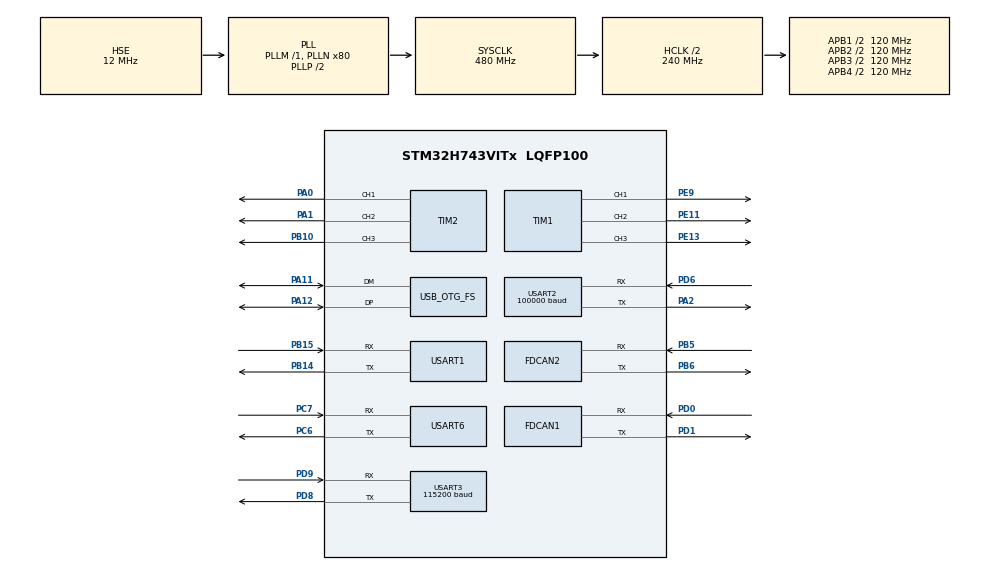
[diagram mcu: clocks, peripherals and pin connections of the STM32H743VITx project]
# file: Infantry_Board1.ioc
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CORTEX_M7.CPU_DCache=Disabled
CORTEX_M7.CPU_ICache=Disabled
CORTEX_M7.default_mode_Activation=0
Dma.Request0=USART3_RX
Dma.Request1=USART1_RX
Dma.Request2=USART1_TX
Dma.Request3=USART6_RX
Dma.Request4=USART6_TX
Dma.Request5=USART2_RX
Dma.USART1_RX.1.Direction=DMA_PERIPH_TO_MEMORY
Dma.USART1_RX.1.EventEnable=DISABLE
Dma.USART1_RX.1.FIFOMode=DMA_FIFOMODE_DISABLE
Dma.USART1_RX.1.Instance=DMA2_Stream5
Dma.USART1_RX.1.MemDataAlignment=DMA_MDATAALIGN_BYTE
Dma.USART1_RX.1.MemInc=DMA_MINC_ENABLE
Dma.USART1_RX.1.Mode=DMA_NORMAL
Dma.USART1_RX.1.PeriphDataAlignment=DMA_PDATAALIGN_BYTE
Dma.USART1_RX.1.PeriphInc=DMA_PINC_DISABLE
Dma.USART1_RX.1.Polarity=HAL_DMAMUX_REQ_GEN_RISING
Dma.USART1_RX.1.Priority=DMA_PRIORITY_HIGH
Dma.USART1_RX.1.RequestNumber=1
Dma.USART1_RX.1.SignalID=NONE
Dma.USART1_RX.1.SyncEnable=DISABLE
Dma.USART1_RX.1.SyncPolarity=HAL_DMAMUX_SYNC_NO_EVENT
Dma.USART1_RX.1.SyncRequestNumber=1
Dma.USART1_RX.1.SyncSignalID=NONE
Dma.USART1_TX.2.Direction=DMA_MEMORY_TO_PERIPH
Dma.USART1_TX.2.EventEnable=DISABLE
Dma.USART1_TX.2.FIFOMode=DMA_FIFOMODE_DISABLE
Dma.USART1_TX.2.Instance=DMA2_Stream7
Dma.USART1_TX.2.MemDataAlignment=DMA_MDATAALIGN_BYTE
Dma.USART1_TX.2.MemInc=DMA_MINC_ENABLE
Dma.USART1_TX.2.Mode=DMA_NORMAL
Dma.USART1_TX.2.PeriphDataAlignment=DMA_PDATAALIGN_BYTE
Dma.USART1_TX.2.PeriphInc=DMA_PINC_DISABLE
Dma.USART1_TX.2.Polarity=HAL_DMAMUX_REQ_GEN_RISING
Dma.USART1_TX.2.Priority=DMA_PRIORITY_HIGH
Dma.USART1_TX.2.RequestNumber=1
Dma.USART1_TX.2.SignalID=NONE
Dma.USART1_TX.2.SyncEnable=DISABLE
Dma.USART1_TX.2.SyncPolarity=HAL_DMAMUX_SYNC_NO_EVENT
Dma.USART1_TX.2.SyncRequestNumber=1
Dma.USART1_TX.2.SyncSignalID=NONE
Dma.USART2_RX.5.Direction=DMA_PERIPH_TO_MEMORY
Dma.USART2_RX.5.EventEnable=DISABLE
Dma.USART2_RX.5.FIFOMode=DMA_FIFOMODE_DISABLE
Dma.USART2_RX.5.Instance=DMA1_Stream1
Dma.USART2_RX.5.MemDataAlignment=DMA_MDATAALIGN_BYTE
Dma.USART2_RX.5.MemInc=DMA_MINC_ENABLE
Dma.USART2_RX.5.Mode=DMA_NORMAL
Dma.USART2_RX.5.PeriphDataAlignment=DMA_PDATAALIGN_BYTE
Dma.USART2_RX.5.PeriphInc=DMA_PINC_DISABLE
Dma.USART2_RX.5.Polarity=HAL_DMAMUX_REQ_GEN_RISING
Dma.USART2_RX.5.Priority=DMA_PRIORITY_VERY_HIGH
Dma.USART2_RX.5.RequestNumber=1
Dma.USART2_RX.5.SignalID=NONE
Dma.USART2_RX.5.SyncEnable=DISABLE
Dma.USART2_RX.5.SyncPolarity=HAL_DMAMUX_SYNC_NO_EVENT
Dma.USART2_RX.5.SyncRequestNumber=1
Dma.USART2_RX.5.SyncSignalID=NONE
Dma.USART3_RX.0.Direction=DMA_PERIPH_TO_MEMORY
Dma.USART3_RX.0.EventEnable=DISABLE
Dma.USART3_RX.0.FIFOMode=DMA_FIFOMODE_DISABLE
Dma.USART3_RX.0.Instance=DMA1_Stream0
Dma.USART3_RX.0.MemDataAlignment=DMA_MDATAALIGN_BYTE
Dma.USART3_RX.0.MemInc=DMA_MINC_ENABLE
Dma.USART3_RX.0.Mode=DMA_NORMAL
Dma.USART3_RX.0.PeriphDataAlignment=DMA_PDATAALIGN_BYTE
Dma.USART3_RX.0.PeriphInc=DMA_PINC_DISABLE
Dma.USART3_RX.0.Polarity=HAL_DMAMUX_REQ_GEN_RISING
Dma.USART3_RX.0.Priority=DMA_PRIORITY_VERY_HIGH
Dma.USART3_RX.0.RequestNumber=1
Dma.USART3_RX.0.SignalID=NONE
Dma.USART3_RX.0.SyncEnable=DISABLE
Dma.USART3_RX.0.SyncPolarity=HAL_DMAMUX_SYNC_NO_EVENT
Dma.USART3_RX.0.SyncRequestNumber=1
Dma.USART3_RX.0.SyncSignalID=NONE
Dma.USART6_RX.3.Direction=DMA_PERIPH_TO_MEMORY
Dma.USART6_RX.3.EventEnable=DISABLE
Dma.USART6_RX.3.FIFOMode=DMA_FIFOMODE_DISABLE
Dma.USART6_RX.3.Instance=DMA2_Stream1
Dma.USART6_RX.3.MemDataAlignment=DMA_MDATAALIGN_BYTE
Dma.USART6_RX.3.MemInc=DMA_MINC_ENABLE
Dma.USART6_RX.3.Mode=DMA_NORMAL
Dma.USART6_RX.3.PeriphDataAlignment=DMA_PDATAALIGN_BYTE
Dma.USART6_RX.3.PeriphInc=DMA_PINC_DISABLE
Dma.USART6_RX.3.Polarity=HAL_DMAMUX_REQ_GEN_RISING
Dma.USART6_RX.3.Priority=DMA_PRIORITY_HIGH
Dma.USART6_RX.3.RequestNumber=1
Dma.USART6_RX.3.SignalID=NONE
Dma.USART6_RX.3.SyncEnable=DISABLE
Dma.USART6_RX.3.SyncPolarity=HAL_DMAMUX_SYNC_NO_EVENT
Dma.USART6_RX.3.SyncRequestNumber=1
Dma.USART6_RX.3.SyncSignalID=NONE
Dma.USART6_TX.4.Direction=DMA_MEMORY_TO_PERIPH
Dma.USART6_TX.4.EventEnable=DISABLE
Dma.USART6_TX.4.FIFOMode=DMA_FIFOMODE_DISABLE
Dma.USART6_TX.4.Instance=DMA2_Stream6
Dma.USART6_TX.4.MemDataAlignment=DMA_MDATAALIGN_BYTE
Dma.USART6_TX.4.MemInc=DMA_MINC_ENABLE
Dma.USART6_TX.4.Mode=DMA_NORMAL
Dma.USART6_TX.4.PeriphDataAlignment=DMA_PDATAALIGN_BYTE
Dma.USART6_TX.4.PeriphInc=DMA_PINC_DISABLE
Dma.USART6_TX.4.Polarity=HAL_DMAMUX_REQ_GEN_RISING
Dma.USART6_TX.4.Priority=DMA_PRIORITY_HIGH
Dma.USART6_TX.4.RequestNumber=1
Dma.USART6_TX.4.SignalID=NONE
Dma.USART6_TX.4.SyncEnable=DISABLE
Dma.USART6_TX.4.SyncPolarity=HAL_DMAMUX_SYNC_NO_EVENT
Dma.USART6_TX.4.SyncRequestNumber=1
Dma.USART6_TX.4.SyncSignalID=NONE
FDCAN1.AutoRetransmission=ENABLE
FDCAN1.CalculateBaudRateNominal=1000000
FDCAN1.CalculateTimeBitNominal=1000
FDCAN1.CalculateTimeQuantumNominal=25.0
FDCAN1.DataPrescaler=3
FDCAN1.DataSyncJumpWidth=10
FDCAN1.DataTimeSeg1=29
FDCAN1.DataTimeSeg2=10
FDCAN1.NominalPrescaler=3
FDCAN1.NominalSyncJumpWidth=10
FDCAN1.NominalTimeSeg1=29
FDCAN1.NominalTimeSeg2=10
FDCAN1.ProtocolException=ENABLE
FDCAN1.RxFifo0ElmtsNbr=64
FDCAN1.StdFiltersNbr=1
FDCAN1.TxFifoQueueElmtsNbr=32
FDCAN2.AutoRetransmission=ENABLE
FDCAN2.CalculateBaudRateNominal=1000000
FDCAN2.CalculateTimeBitNominal=1000
FDCAN2.CalculateTimeQuantumNominal=25.0
FDCAN2.DataPrescaler=3
FDCAN2.DataSyncJumpWidth=10
FDCAN2.DataTimeSeg1=29
FDCAN2.DataTimeSeg2=10
FDCAN2.NominalPrescaler=3
FDCAN2.NominalSyncJumpWidth=10
FDCAN2.NominalTimeSeg1=29
FDCAN2.NominalTimeSeg2=10
FDCAN2.ProtocolException=ENABLE
FDCAN2.RxFifo0ElmtsNbr=64
FDCAN2.StdFiltersNbr=1
FDCAN2.TxFifoQueueElmtsNbr=32
FREERTOS.INCLUDE_vTaskDelayUntil=1
FREERTOS.INCLUDE_xTaskGetHandle=1
FREERTOS.Tasks01=defaultTask,0,128,StartDefaultTask,Default,NULL,Dynamic,NULL,NULL;StartTask,3,128,ALL_Init,Default,NULL,Dynamic,NULL,NULL
Mcu.Family=STM32H7
Mcu.Name=STM32H743VITx
Mcu.Package=LQFP100
NVIC.DMA1_Stream0_IRQn=true\:5\:0\:false\:false\:true\:true\:false\:true\:true
NVIC.DMA1_Stream1_IRQn=true\:5\:0\:false\:false\:true\:true\:false\:true\:true
NVIC.DMA2_Stream1_IRQn=true\:5\:0\:false\:false\:true\:false\:false\:true\:true
NVIC.DMA2_Stream5_IRQn=true\:5\:0\:false\:false\:true\:false\:false\:true\:true
NVIC.DMA2_Stream6_IRQn=true\:5\:0\:false\:false\:true\:false\:false\:true\:true
NVIC.DMA2_Stream7_IRQn=true\:5\:0\:false\:false\:true\:false\:false\:true\:true
NVIC.FDCAN1_IT0_IRQn=true\:5\:0\:false\:false\:true\:true\:true\:true\:true
NVIC.FDCAN1_IT1_IRQn=true\:5\:0\:false\:false\:true\:true\:true\:true\:true
NVIC.FDCAN2_IT0_IRQn=true\:5\:0\:false\:false\:true\:true\:true\:true\:true
NVIC.FDCAN2_IT1_IRQn=true\:5\:0\:false\:false\:true\:true\:true\:true\:true
NVIC.OTG_FS_IRQn=true\:5\:0\:false\:false\:true\:true\:false\:true\:true
NVIC.PriorityGroup=NVIC_PRIORITYGROUP_4
NVIC.TIM3_IRQn=true\:15\:0\:false\:false\:true\:false\:false\:true\:true
NVIC.TimeBase=TIM3_IRQn
NVIC.TimeBaseIP=TIM3
NVIC.USART1_IRQn=true\:5\:0\:false\:false\:true\:true\:false\:true\:true
NVIC.USART2_IRQn=true\:5\:0\:true\:false\:true\:true\:true\:true\:true
NVIC.USART3_IRQn=true\:5\:0\:false\:false\:true\:true\:true\:true\:true
NVIC.USART6_IRQn=true\:5\:0\:false\:false\:true\:true\:false\:true\:true
PA0.Signal=S_TIM2_CH1_ETR
PA1.Signal=S_TIM2_CH2
PA11.Mode=Device_Only
PA11.Signal=USB_OTG_FS_DM
PA12.Mode=Device_Only
PA12.Signal=USB_OTG_FS_DP
PA2.Mode=Asynchronous
PA2.Signal=USART2_TX
PB10.Signal=S_TIM2_CH3
PB14.Mode=Asynchronous
PB14.Signal=USART1_TX
PB15.Mode=Asynchronous
PB15.Signal=USART1_RX
PB5.Mode=FDCAN_Activate
PB5.Signal=FDCAN2_RX
PB6.Mode=FDCAN_Activate
PB6.Signal=FDCAN2_TX
PC6.Mode=Asynchronous
PC6.Signal=USART6_TX
PC7.Mode=Asynchronous
PC7.Signal=USART6_RX
PD0.Mode=FDCAN_Activate
PD0.Signal=FDCAN1_RX
PD1.Mode=FDCAN_Activate
PD1.Signal=FDCAN1_TX
PD6.Mode=Asynchronous
PD6.Signal=USART2_RX
PD8.Mode=Asynchronous
PD8.Signal=USART3_TX
PD9.Mode=Asynchronous
PD9.Signal=USART3_RX
PE11.Signal=S_TIM1_CH2
PE13.Signal=S_TIM1_CH3
PE9.Signal=S_TIM1_CH1
PH0-OSC_IN\ (PH0).Mode=HSE-External-Oscillator
PH0-OSC_IN\ (PH0).Signal=RCC_OSC_IN
PH1-OSC_OUT\ (PH1).Mode=HSE-External-Oscillator
PH1-OSC_OUT\ (PH1).Signal=RCC_OSC_OUT
ProjectManager.HeapSize=0x2000
ProjectManager.StackSize=0x400
ProjectManager.TargetToolchain=MDK-ARM V5.32
RCC.ADCFreq_Value=120000000
RCC.APB1Freq_Value=120000000
RCC.APB2Freq_Value=120000000
RCC.APB3Freq_Value=120000000
RCC.APB4Freq_Value=120000000
RCC.CortexFreq_Value=480000000
RCC.D1PPRE=RCC_APB3_DIV2
RCC.D2PPRE1=RCC_APB1_DIV2
RCC.D2PPRE2=RCC_APB2_DIV2
RCC.D3PPRE=RCC_APB4_DIV2
RCC.DIVM1=1
RCC.DIVM2=1
RCC.DIVM3=1
RCC.DIVN1=80
RCC.DIVN2=20
RCC.DIVN3=20
RCC.DIVQ1=8
RCC.HCLKFreq_Value=240000000
RCC.HPRE=RCC_HCLK_DIV2
RCC.HSE_VALUE=12000000
RCC.PLLSourceVirtual=RCC_PLLSOURCE_HSE
RCC.SYSCLKFreq_VALUE=480000000
RCC.SYSCLKSource=RCC_SYSCLKSOURCE_PLLCLK
RCC.USBCLockSelection=RCC_USBCLKSOURCE_HSI48
RCC.USBFreq_Value=48000000
SH.S_TIM1_CH1.0=TIM1_CH1,PWM Generation1 CH1
SH.S_TIM1_CH2.0=TIM1_CH2,PWM Generation2 CH2
SH.S_TIM1_CH3.0=TIM1_CH3,PWM Generation3 CH3
SH.S_TIM2_CH1_ETR.0=TIM2_CH1,Output Compare1 CH1
SH.S_TIM2_CH2.0=TIM2_CH2,Output Compare2 CH2
SH.S_TIM2_CH3.0=TIM2_CH3,Output Compare3 CH3
STMicroelectronics.X-CUBE-ALGOBUILD.1.4.0.LibraryCcDSPOoLibraryJjDSPOoLibrary=true
TIM1.Channel-PWM\ Generation1\ CH1=TIM_CHANNEL_1
TIM1.Channel-PWM\ Generation2\ CH2=TIM_CHANNEL_2
TIM1.Channel-PWM\ Generation3\ CH3=TIM_CHANNEL_3
TIM2.Channel-Output\ Compare1\ CH1=TIM_CHANNEL_1
TIM2.Channel-Output\ Compare2\ CH2=TIM_CHANNEL_2
TIM2.Channel-Output\ Compare3\ CH3=TIM_CHANNEL_3
USART1.VirtualMode-Asynchronous=VM_ASYNC
USART2.BaudRate=100000
USART2.Parity=PARITY_EVEN
USART2.StopBits=STOPBITS_1
USART2.VirtualMode-Asynchronous=VM_ASYNC
USART2.WordLength=WORDLENGTH_9B
USART3.BaudRate=115200
USART3.StopBits=STOPBITS_2
USART3.VirtualMode-Asynchronous=VM_ASYNC
USART6.VirtualMode=VM_ASYNC
USB_DEVICE.CLASS_NAME_FS=CDC
USB_DEVICE.VirtualMode-CDC_FS=Cdc
USB_DEVICE.VirtualModeFS=Cdc_FS
USB_OTG_FS.VirtualMode=Device_Only
VP_FREERTOS_VS_CMSIS_V1.Mode=CMSIS_V1
VP_MEMORYMAP_VS_MEMORYMAP.Mode=CurAppReg
VP_RTC_VS_RTC_Activate.Mode=RTC_Enabled
VP_RTC_VS_RTC_Calendar.Mode=RTC_Calendar
VP_STMicroelectronics.X-CUBE-ALGOBUILD_VS_DSPOoLibraryJjLibrary_1.4.0_1.4.0.Mode=DSPOoLibraryJjLibrary
VP_SYS_VS_tim3.Mode=TIM3
VP_TIM1_VS_ClockSourceINT.Mode=Internal
VP_TIM2_VS_ClockSourceINT.Mode=Internal
VP_USB_DEVICE_VS_USB_DEVICE_CDC_FS.Mode=CDC_FS
board=custom

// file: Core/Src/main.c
/* USER CODE BEGIN Header */
/**
  ******************************************************************************
  * @file           : main.c
  * @brief          : Main program body
  ******************************************************************************
  * @attention
  *
  * Copyright (c) 2024 STMicroelectronics.
  * All rights reserved.
  *
  * This software is licensed under terms that can be found in the LICENSE file
  * in the root directory of this software component.
  * If no LICENSE file comes with this software, it is provided AS-IS.
  *
  ******************************************************************************
  */
/* USER CODE END Header */
#include "main.h"
#include "cmsis_os.h"
#include "dma.h"
#include "fdcan.h"
#include "memorymap.h"
#include "rtc.h"
#include "tim.h"
#include "usart.h"
#include "usb_device.h"
#include "gpio.h"

void SystemClock_Config(void);
void MX_FREERTOS_Init(void);

int main(void)
{

  /* MCU Configuration--------------------------------------------------------*/

  /* Reset of all peripherals, Initializes the Flash interface and the Systick. */
  HAL_Init();

  /* Configure the system clock */
  SystemClock_Config();

  /* Initialize all configured peripherals */
  MX_GPIO_Init();
  MX_DMA_Init();
  MX_FDCAN1_Init();
  MX_FDCAN2_Init();
  MX_USART1_UART_Init();
  MX_USART3_UART_Init();
  MX_USART6_UART_Init();
  MX_RTC_Init();
  MX_TIM1_Init();
  MX_TIM2_Init();
  MX_USART2_UART_Init();

  /* Call init function for freertos objects (in cmsis_os2.c) */
  MX_FREERTOS_Init();

  /* Start scheduler */
  osKernelStart();

  /* We should never get here as control is now taken by the scheduler */

  /* Infinite loop */
  while (1)
  {

  }
}

void SystemClock_Config(void)
{
  RCC_OscInitTypeDef RCC_OscInitStruct = {0};
  RCC_ClkInitTypeDef RCC_ClkInitStruct = {0};

  /** Supply configuration update enable
  */
  HAL_PWREx_ConfigSupply(PWR_LDO_SUPPLY);

  /** Configure the main internal regulator output voltage
  */
  __HAL_PWR_VOLTAGESCALING_CONFIG(PWR_REGULATOR_VOLTAGE_SCALE1);

  while(!__HAL_PWR_GET_FLAG(PWR_FLAG_VOSRDY)) {}

  __HAL_RCC_SYSCFG_CLK_ENABLE();
  __HAL_PWR_VOLTAGESCALING_CONFIG(PWR_REGULATOR_VOLTAGE_SCALE0);

  while(!__HAL_PWR_GET_FLAG(PWR_FLAG_VOSRDY)) {}

  /** Initializes the RCC Oscillators according to the specified parameters
  * in the RCC_OscInitTypeDef structure.
  */
  RCC_OscInitStruct.OscillatorType = RCC_OSCILLATORTYPE_HSI48|RCC_OSCILLATORTYPE_LSI
                              |RCC_OSCILLATORTYPE_HSE;
  RCC_OscInitStruct.HSEState = RCC_HSE_ON;
  RCC_OscInitStruct.LSIState = RCC_LSI_ON;
  RCC_OscInitStruct.HSI48State = RCC_HSI48_ON;
  RCC_OscInitStruct.PLL.PLLState = RCC_PLL_ON;
  RCC_OscInitStruct.PLL.PLLSource = RCC_PLLSOURCE_HSE;
  RCC_OscInitStruct.PLL.PLLM = 1;
  RCC_OscInitStruct.PLL.PLLN = 80;
  RCC_OscInitStruct.PLL.PLLP = 2;
  RCC_OscInitStruct.PLL.PLLQ = 8;
  RCC_OscInitStruct.PLL.PLLR = 2;
  RCC_OscInitStruct.PLL.PLLRGE = RCC_PLL1VCIRANGE_3;
  RCC_OscInitStruct.PLL.PLLVCOSEL = RCC_PLL1VCOWIDE;
  RCC_OscInitStruct.PLL.PLLFRACN = 0;
  if (HAL_RCC_OscConfig(&RCC_OscInitStruct) != HAL_OK)
  {
    Error_Handler();
  }

  /** Initializes the CPU, AHB and APB buses clocks
  */
  RCC_ClkInitStruct.ClockType = RCC_CLOCKTYPE_HCLK|RCC_CLOCKTYPE_SYSCLK
                              |RCC_CLOCKTYPE_PCLK1|RCC_CLOCKTYPE_PCLK2
                              |RCC_CLOCKTYPE_D3PCLK1|RCC_CLOCKTYPE_D1PCLK1;
  RCC_ClkInitStruct.SYSCLKSource = RCC_SYSCLKSOURCE_PLLCLK;
  RCC_ClkInitStruct.SYSCLKDivider = RCC_SYSCLK_DIV1;
  RCC_ClkInitStruct.AHBCLKDivider = RCC_HCLK_DIV2;
  RCC_ClkInitStruct.APB3CLKDivider = RCC_APB3_DIV2;
  RCC_ClkInitStruct.APB1CLKDivider = RCC_APB1_DIV2;
  RCC_ClkInitStruct.APB2CLKDivider = RCC_APB2_DIV2;
  RCC_ClkInitStruct.APB4CLKDivider = RCC_APB4_DIV2;

  if (HAL_RCC_ClockConfig(&RCC_ClkInitStruct, FLASH_LATENCY_4) != HAL_OK)
  {
    Error_Handler();
  }
}

void HAL_TIM_PeriodElapsedCallback(TIM_HandleTypeDef *htim)
{
  if (htim->Instance == TIM3) {
    HAL_IncTick();
  }
}

void Error_Handler(void)
{
  __disable_irq();
  while (1)
  {
  }
}

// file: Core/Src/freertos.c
/* USER CODE BEGIN Header */
/**
  ******************************************************************************
  * File Name          : freertos.c
  * Description        : Code for freertos applications
  ******************************************************************************
  * @attention
  *
  * Copyright (c) 2024 STMicroelectronics.
  * All rights reserved.
  *
  * This software is licensed under terms that can be found in the LICENSE file
  * in the root directory of this software component.
  * If no LICENSE file comes with this software, it is provided AS-IS.
  *
  ******************************************************************************
  */
/* USER CODE END Header */

#include "FreeRTOS.h"
#include "task.h"
#include "main.h"
#include "cmsis_os.h"

/* USER CODE BEGIN Includes */
#include "pid.h"
#include "BSP_Fdcan.h"
#include "BSP_Usart.h"

#include "Cloud_Control.h"
#include "Shoot.h"

#include "Task_LED.h"
#include "SBUS.h"
#include "DT7.h"
#include "BSP_Test.h"
#include "Saber_C3.h"
#include "Protocol_UpperComputer.h"

/* USER CODE END Includes */

/* USER CODE BEGIN Variables */
/***********Queues************/
QueueHandle_t FDCAN1_ReceiveHandle;
QueueHandle_t FDCAN2_ReceiveHandle;//��ʱ�򿪣���Ȼû��
QueueHandle_t FDCAN_SendHandle;
QueueHandle_t Communicate_ReceivefromPCHandle;
/***********Tasks*************/
osThreadId Task_Fdcan1MsgRecHandle;
osThreadId Task_Fdcan2MsgRecHandle;//��ʱ�򿪣���Ȼû��
osThreadId Task_FdcanSendHandle;
osThreadId Move_DataHandle;
osThreadId led_RGB_flow_handle;
osThreadId Robot_Control_Handle;
osThreadId Task_CommunicateFromPC_Handle;
osThreadId Task_CommunicateToPC_Handle;
osThreadId Task_OffLineCheck_Handle;
osThreadId Task_DT7_Handle;

/* USER CODE END Variables */
osThreadId defaultTaskHandle;
osThreadId StartTaskHandle;

/* USER CODE BEGIN FunctionPrototypes */
extern void Fdcan1Receives(void const *argument);
extern void Fdcan2Receives(void const *argument);
extern void AllFdcanSend(void const *argument);
extern void Robot_Control(void const *argument);
extern void Robot_Control(void const *argument);
extern void USBCommunicateTask_Receive(void const *argument);
extern void USBCommunicateTask_Send(void const *argument);
extern void Off_Line_Check(void const *argument);
extern void DT7_Control(void const *argument);

/* USER CODE END FunctionPrototypes */

void StartDefaultTask(void const * argument);
void ALL_Init(void const * argument);

extern void MX_USB_DEVICE_Init(void);
void MX_FREERTOS_Init(void); /* (MISRA C 2004 rule 8.1) */

/* GetIdleTaskMemory prototype (linked to static allocation support) */
void vApplicationGetIdleTaskMemory( StaticTask_t **ppxIdleTaskTCBBuffer, StackType_t **ppxIdleTaskStackBuffer, uint32_t *pulIdleTaskStackSize );

/* USER CODE BEGIN GET_IDLE_TASK_MEMORY */
static StaticTask_t xIdleTaskTCBBuffer;
static StackType_t xIdleStack[configMINIMAL_STACK_SIZE];

void vApplicationGetIdleTaskMemory( StaticTask_t **ppxIdleTaskTCBBuffer, StackType_t **ppxIdleTaskStackBuffer, uint32_t *pulIdleTaskStackSize )
{
  *ppxIdleTaskTCBBuffer = &xIdleTaskTCBBuffer;
  *ppxIdleTaskStackBuffer = &xIdleStack[0];
  *pulIdleTaskStackSize = configMINIMAL_STACK_SIZE;
  /* place for user code */
}
/* USER CODE END GET_IDLE_TASK_MEMORY */

void MX_FREERTOS_Init(void) {

  /* USER CODE BEGIN RTOS_QUEUES */
  /* add queues, ... */

  /* definition and creation of CAN1_Receive */
  FDCAN1_ReceiveHandle = xQueueCreate(16, sizeof(Fdcan_Export_Data_t));

  /* definition and creation of CAN2_Receive */
  FDCAN2_ReceiveHandle = xQueueCreate(16, sizeof(Fdcan_Export_Data_t));

  /* definition and creation of CAN_Send */
  FDCAN_SendHandle = xQueueCreate(16, sizeof(Fdcan_Send_Data_t));

  /* definition and creation of Communicate_PC */
  Communicate_ReceivefromPCHandle = xQueueCreate(16, UpperCom_MAX_BUF);
  /* USER CODE END RTOS_QUEUES */

  /* Create the thread(s) */
  /* definition and creation of defaultTask */
  osThreadDef(defaultTask, StartDefaultTask, osPriorityNormal, 0, 128);
  defaultTaskHandle = osThreadCreate(osThread(defaultTask), NULL);

  /* definition and creation of StartTask */
  osThreadDef(StartTask, ALL_Init, osPriorityRealtime, 0, 128);
  StartTaskHandle = osThreadCreate(osThread(StartTask), NULL);

  /* USER CODE BEGIN RTOS_THREADS */
  /* add threads, ... */

  /* definition and creation of Can1ReceiveTask */
  osThreadDef(Fdcan1_ReceiveTask, Fdcan1Receives, osPriorityAboveNormal, 0, 128);
  Task_Fdcan1MsgRecHandle = osThreadCreate(osThread(Fdcan1_ReceiveTask), NULL);

  /* definition and creation of Can1ReceiveTask */
  osThreadDef(Fdcan2_ReceiveTask, Fdcan2Receives, osPriorityAboveNormal, 0, 128);
  Task_Fdcan2MsgRecHandle = osThreadCreate(osThread(Fdcan2_ReceiveTask), NULL);

  /* definition and creation of CanSendTask */
  osThreadDef(Fdcan_SendTask, AllFdcanSend, osPriorityHigh, 0, 256);
  Task_FdcanSendHandle = osThreadCreate(osThread(Fdcan_SendTask), NULL);

//  /* definition and creation of LED_RGB_Flow_Task */
//  osThreadDef(led, led_RGB_flow_task, osPriorityNormal, 0, 128);
//  led_RGB_flow_handle = osThreadCreate(osThread(led), NULL);

  /* definition and creation of Robot_Control_Task */
  osThreadDef(Robot_Control_Task, Robot_Control, osPriorityHigh, 0, 256);
  Robot_Control_Handle = osThreadCreate(osThread(Robot_Control_Task), NULL);

  /* definition and creation of Task_CommunicateToPC_Handle */
  osThreadDef(Task_CommunicateToPC_Handle, USBCommunicateTask_Send, osPriorityAboveNormal, 0, 256);
  Task_CommunicateToPC_Handle = osThreadCreate(osThread(Task_CommunicateToPC_Handle), NULL);

  /* definition and creation of Task_OffLineCheck_Handle */
  osThreadDef(Task_OffLineCheck_Handle, Off_Line_Check, osPriorityAboveNormal, 0, 128);
  Task_OffLineCheck_Handle = osThreadCreate(osThread(Task_OffLineCheck_Handle), NULL);

  /* definition and creation of Task_CommunicateFromPC_Handle */
  osThreadDef(Task_CommunicateFromPC_Handle, USBCommunicateTask_Receive, osPriorityAboveNormal, 0, 128);
  Task_CommunicateFromPC_Handle = osThreadCreate(osThread(Task_CommunicateFromPC_Handle), NULL);

  /* definition and creation of Task_DT7_Handle */
  osThreadDef(Task_DT7_Handle, DT7_Control, osPriorityHigh, 0, 256);
  Task_DT7_Handle = osThreadCreate(osThread(Task_DT7_Handle), NULL);

  /* USER CODE END RTOS_THREADS */

}

void StartDefaultTask(void const * argument)
{
  /* init code for USB_DEVICE */
  MX_USB_DEVICE_Init();
  for(;;)
  {
    osDelay(1);
  }
}

void ALL_Init(void const * argument)
{
  /* USER CODE BEGIN ALL_Init */
    /* Infinite loop */
    for (;;)
    {
        taskENTER_CRITICAL();                 //�����ٽ���

        /* FDCAN�жϳ�ʼ�� */
        Fdcan_Fun.FDCAN_IT_Init(&hfdcan1, Fdcan1_Type);
        Fdcan_Fun.FDCAN_IT_Init(&hfdcan2, Fdcan2_Type);
			  /*ģ��PID��ʼ��*/
				fuzzy_init(&fuzzy_pid_shoot_l,100,-100,25,0.1,10);
				fuzzy_init(&fuzzy_pid_shoot_r,100,-100,25,0.1,10);
				fuzzy_init(&fuzzy_pid_bullet_v,30,-30,5,0.01,3);
				fuzzy_init(&fuzzy_pid_bullet_l,10,-10,0.1,0.01,1);
//			  fuzzy_init(&fuzzy_pid_pitch_in,10,-10,0.1,0.01,1);
//				fuzzy_init(&fuzzy_pid_pitch_out,0.025,-0.00005,0.1,0.01,1);

        /*PID��ʼ��*/
        Incremental_PIDInit(&M3508_FricL_Pid, 40.f, 0, 30, 20000, 5000);//��Ħ�����ٶȻ�
        Incremental_PIDInit(&M3508_FricR_Pid, 40.f, 0, 30, 20000, 5000);//��Ħ�����ٶȻ�
        Position_PIDInit(&M2006_DialV_Pid, 0.5f, 0.001f, 0.5, 0.5, 20000, 8000, 700);//���̵���ٶȻ�?
        Incremental_PIDInit(&M2006_DialI_Pid, 12.5f, 0.5f, 3, 10000, 1000);//���̵��������?
        /*Pitch��ʼ��*/
        Position_PIDInit(&M6020s_PitchIPID, 550.0f, 3.2 ,10, 0, 20000, 10000, 5000);
        Position_PIDInit(&M6020s_PitchOPID, 0.2f, 0.00, 0.5f, 0.1f, 20000, 10000, 3000);
        /* ����PID��ʼ�� */
        Position_PIDInit(&AutoAim_M6020s_PitchIPID, 1000.0f, 0, 800, 10, 12000, 10000, 0);
        Position_PIDInit(&AutoAim_M6020s_PitchOPID, 0.045f, 0, 0.05f, 1.f, 20000, 10000, 10000);
        /*�豸��ʼ��*/

        //��̨��ʼ��
        Cloud_Init();
        //ң������ʼ��
#if (RemoteControlMethod == TDF)
        SBUS_Init();//��ط�
#elif (RemoteControlMethod == DT7)
        DT7_Init();//DT7��
#endif
        vTaskDelete(StartTaskHandle);         //ɾ����ǰ����
        taskEXIT_CRITICAL();                  //�˳��ٽ���
    }
  /* USER CODE END ALL_Init */
}
